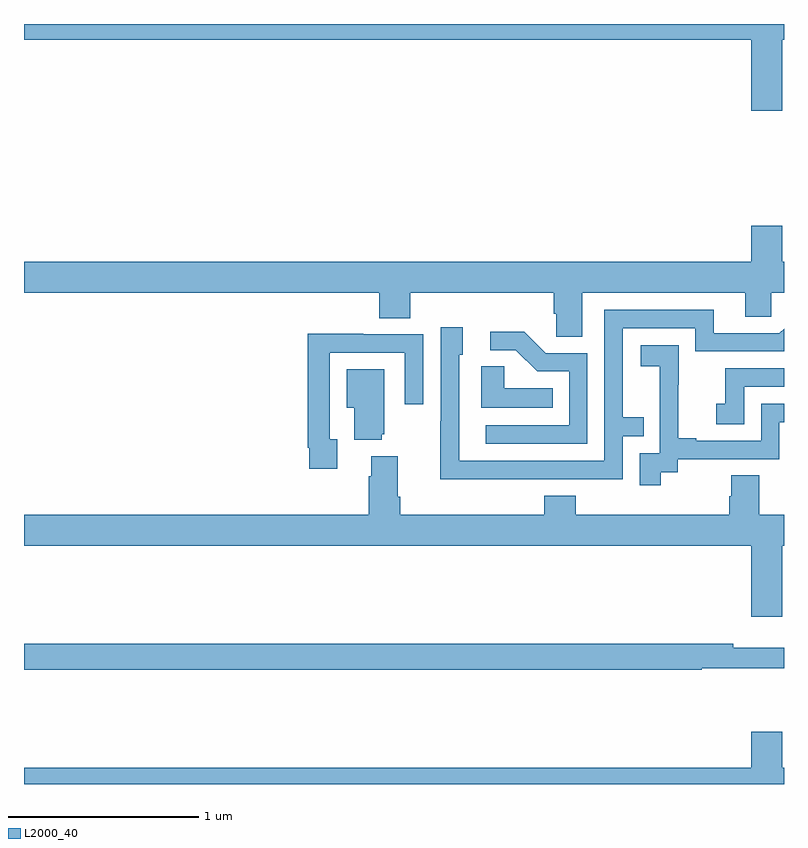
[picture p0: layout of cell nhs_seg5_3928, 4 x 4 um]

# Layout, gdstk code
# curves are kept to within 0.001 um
import gdstk
lib = gdstk.Library(unit=1e-6, precision=1e-09)
def P(c, l, *ps):  # polygons
    for p in ps: c.add(gdstk.Polygon(p, *l))
L2000_40 = (2000, 40)

nhs_seg5_3928 = lib.new_cell('nhs_seg5_3928')
P(nhs_seg5_3928, L2000_40, [(344.992,900.716),(345,900.716),(345,900.799),(341,900.799),(341,900.716),(344.828,900.716),(344.828,900.342),(344.992,900.342)],
  [(341,899.384),(342.869,899.384),(342.869,899.251),(343.034,899.251),(343.034,899.384),(343.787,899.384),(343.787,899.275),(343.8,899.275),(343.8,899.152),(343.939,899.152),(343.939,899.384),(344.795,899.384),(344.795,899.257),(344.934,899.257),(344.934,899.384),(345,899.384),(345,899.548),(344.992,899.548),(344.992,899.737),(344.828,899.737),(344.828,899.548),(341,899.548)],
  [(343.655,898.404),(344.151,898.404),(344.151,898.629),(344.261,898.629),(344.261,898.73),(344.151,898.73),(344.151,899.199),(344.532,899.199),(344.532,899.076),(345,899.076),(345,899.196),(344.976,899.172),(344.629,899.172),(344.629,899.295),(344.055,899.295),(344.055,898.5),(343.29,898.5),(343.29,899.058),(343.309,899.058),(343.309,899.203),(343.194,899.203),(343.194,898.709),(343.192,898.709),(343.192,898.403)],
  [(343.965,899.067),(343.746,899.067),(343.633,899.18),(343.455,899.18),(343.455,899.082),(343.589,899.082),(343.7,898.971),(343.869,898.971),(343.869,898.686),(343.431,898.686),(343.431,898.59),(343.965,898.59)],
  [(342.649,898.614),(342.609,898.614),(342.609,899.07),(343.005,899.07),(343.005,898.797),(343.101,898.797),(343.101,899.166),(342.785,899.166),(342.785,899.168),(342.493,899.168),(342.493,898.57),(342.501,898.57),(342.501,898.458),(342.649,898.458)],
  [(344.35,898.441),(344.442,898.441),(344.442,898.509),(344.976,898.509),(344.976,898.704),(345,898.704),(345,898.8),(344.88,898.8),(344.88,898.605),(344.539,898.605),(344.539,898.618),(344.444,898.618),(344.444,898.901),(344.445,898.901),(344.445,899.107),(344.247,899.107),(344.247,898.997),(344.345,898.997),(344.345,898.769),(344.346,898.769),(344.346,898.539),(344.241,898.539),(344.241,898.371),(344.35,898.371)],
  [(343.784,898.882),(343.527,898.882),(343.527,898.997),(343.406,898.997),(343.406,898.778),(343.784,898.778)],
  [(344.79,898.89),(345,898.89),(345,898.986),(344.692,898.986),(344.692,898.801),(344.643,898.801),(344.643,898.692),(344.79,898.692)],
  [(342.884,898.641),(342.895,898.641),(342.895,898.981),(342.698,898.981),(342.698,898.778),(342.737,898.778),(342.737,898.61),(342.884,898.61)],
  [(344.992,898.052),(345,898.052),(345,898.216),(344.871,898.216),(344.871,898.424),(344.723,898.424),(344.723,898.314),(344.711,898.314),(344.711,898.216),(343.904,898.216),(343.904,898.315),(343.739,898.315),(343.739,898.216),(342.98,898.216),(342.98,898.312),(342.967,898.312),(342.967,898.525),(342.827,898.525),(342.827,898.418),(342.815,898.418),(342.815,898.216),(341,898.216),(341,898.052),(344.828,898.052),(344.828,897.678),(344.992,897.678)],
  [(344.566,897.408),(345,897.408),(345,897.517),(344.732,897.517),(344.732,897.536),(341,897.536),(341,897.4),(344.566,897.4)],
  [(345,896.884),(344.992,896.884),(344.992,897.073),(344.828,897.073),(344.828,896.884),(341,896.884),(341,896.799),(345,896.799)])

lib.write_gds('nhs_seg5_3928.gds')
